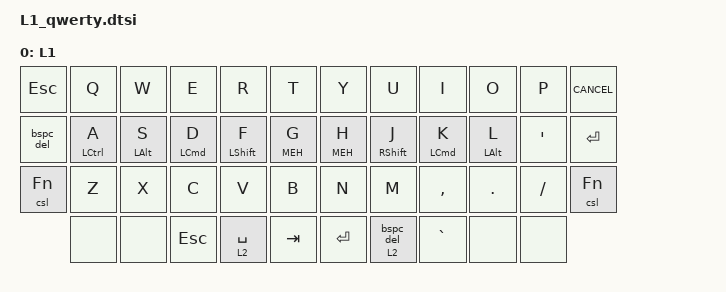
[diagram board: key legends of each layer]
/**
 * Alpha Layer - QWERTY
 */

/ {
  keymap {
    compatible = "zmk,keymap";

    qwerty_layer {
      display-name = "L1";
      bindings = <
// ╭───────────────┬───────────────┬───────────────┬───────────────┬───────────────┬───────────────╮   ╭───────────────┬───────────────┬───────────────┬───────────────┬───────────────┬───────────────╮
// │0              │1              │2              │3              │4              │5              │   │6              │7              │8              │9              │10             │11             │
    &kp ESC         &kp Q           &kp W           &kp E           &kp R           &kp T               &kp Y           &kp U           &kp I           &kp O           &kp P           &kp K_CANCEL
// ├───────────────├───────────────┼───────────────┼───────────────┼───────────────┼───────────────┤   ├───────────────├───────────────┼───────────────┼───────────────┼───────────────┼───────────────┤
// │12             │13             │14             │15             │16             │17             │   │18             │19             │20             │21             │22             │23             │
    &bspc_del       &hrml LCTRL A   &hrml LALT S    &hrml LCMD D    &hrml LSHFT F   &hrml MEH G         &hrmr MEH H     &hrmr RSHFT J   &hrmr LCMD K    &hrmr LALT L    &kp SQT         &kp RET
// ├───────────────├───────────────┼───────────────┼───────────────┼───────────────┼───────────────┤   ├───────────────├───────────────┼───────────────┼───────────────┼───────────────┼───────────────┤
// │24             │25             │26             │27             │28             │29             │   │30             │31             │32             │33             │34             │35             │
    &csl Fn         &kp Z           &kp X           &kp C           &kp V           &kp B               &kp N           &kp M           &kp COMMA       &kp DOT         &kp FSLH        &csl Fn
// ╰───────────────┼───────────────┼───────────────┼───────────────┼───────────────┼───────────────┤   ├───────────────├───────────────┼───────────────┼───────────────┼───────────────┼───────────────╯
//                 │36             │37             │38             │39             │40             │   │41             │42             │43             │44             │45             │
                    &none           &none           &kp ESC         &lt L2 SPACE    &kp TAB             &kp RET         &lt L2 bspc_del &kp GRAVE       &none           &none
//                 ╰───────────────┴───────────────┴───────────────┴───────────────┴───────────────╯   ╰───────────────┴───────────────┴───────────────┴───────────────┴───────────────╯
      >;
    };
  };
};
